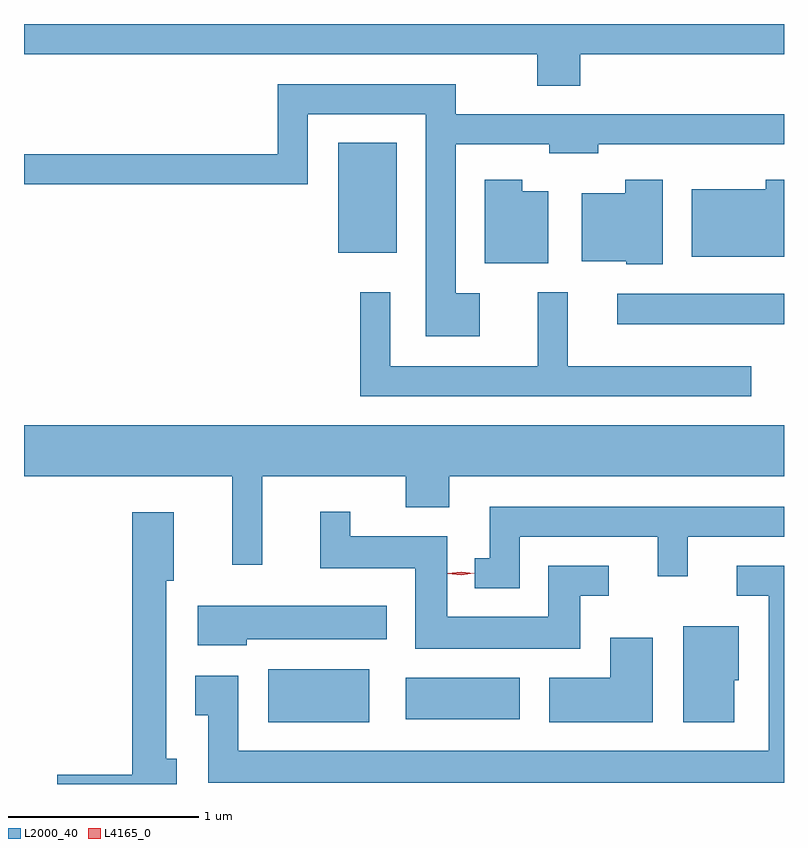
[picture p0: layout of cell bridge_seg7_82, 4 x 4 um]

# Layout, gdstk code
import gdstk
lib = gdstk.Library(unit=1e-6, precision=1e-09)
def R(c, l, rs):  # rectangles x0, y0, x1, y1
    for r in rs: c.add(gdstk.rectangle(r[:2], r[2:], *l))
def P(c, l, *ps):  # polygons
    for p in ps: c.add(gdstk.Polygon(p, *l))
L2000_40 = (2000, 40)
L4165_0 = (4165, 0)

bridge_seg7_82 = lib.new_cell('bridge_seg7_82')
R(bridge_seg7_82, L2000_40, [(1657.526,1779.621,1658.059,1779.899), (1658.251,1779.636,1658.849,1779.854), (1659.363,1781.716,1660.241,1781.874), (1657.896,1782.091,1658.204,1782.669)])
P(bridge_seg7_82, L2000_40, [(1659.169,1783.136),(1660.241,1783.136),(1660.241,1783.295),(1656.241,1783.295),(1656.241,1783.136),(1658.941,1783.136),(1658.941,1782.971),(1659.169,1782.971)],
  [(1658.639,1781.879),(1658.514,1781.879),(1658.514,1782.661),(1659.006,1782.661),(1659.006,1782.616),(1659.264,1782.616),(1659.264,1782.661),(1660.241,1782.661),(1660.241,1782.819),(1658.514,1782.819),(1658.514,1782.979),(1657.576,1782.979),(1657.576,1782.609),(1656.241,1782.609),(1656.241,1782.451),(1657.734,1782.451),(1657.734,1782.821),(1658.356,1782.821),(1658.356,1781.651),(1658.639,1781.651)],
  [(1658.999,1782.414),(1658.864,1782.414),(1658.864,1782.474),(1658.666,1782.474),(1658.666,1782.036),(1658.999,1782.036)],
  [(1659.604,1782.474),(1659.406,1782.474),(1659.406,1782.404),(1659.176,1782.404),(1659.176,1782.046),(1659.41,1782.046),(1659.41,1782.031),(1659.604,1782.031)],
  [(1660.241,1782.474),(1660.146,1782.474),(1660.146,1782.424),(1659.756,1782.424),(1659.756,1782.071),(1660.241,1782.071)],
  [(1660.068,1781.494),(1659.104,1781.494),(1659.104,1781.883),(1658.946,1781.883),(1658.946,1781.494),(1658.169,1781.494),(1658.169,1781.883),(1658.011,1781.883),(1658.011,1781.336),(1660.068,1781.336)],
  [(1657.494,1780.916),(1658.251,1780.916),(1658.251,1780.751),(1658.479,1780.751),(1658.479,1780.916),(1660.241,1780.916),(1660.241,1781.184),(1656.241,1781.184),(1656.241,1780.916),(1657.336,1780.916),(1657.336,1780.448),(1657.494,1780.448)],
  [(1658.849,1780.596),(1659.576,1780.596),(1659.576,1780.388),(1659.734,1780.388),(1659.734,1780.596),(1660.241,1780.596),(1660.241,1780.754),(1658.691,1780.754),(1658.691,1780.484),(1658.613,1780.484),(1658.613,1780.326),(1658.849,1780.326)],
  [(1659.169,1780.286),(1659.318,1780.286),(1659.318,1780.444),(1659.001,1780.444),(1659.001,1780.174),(1658.469,1780.174),(1658.469,1780.599),(1657.959,1780.599),(1657.959,1780.728),(1657.801,1780.728),(1657.801,1780.431),(1658.301,1780.431),(1658.301,1780.006),(1659.169,1780.006)],
  [(1657.044,1779.429),(1656.989,1779.429),(1656.989,1780.366),(1657.029,1780.366),(1657.029,1780.724),(1656.811,1780.724),(1656.811,1779.344),(1656.416,1779.344),(1656.416,1779.295),(1657.044,1779.295)],
  [(1660.241,1780.444),(1659.993,1780.444),(1659.993,1780.286),(1660.161,1780.286),(1660.161,1779.469),(1657.369,1779.469),(1657.369,1779.864),(1657.141,1779.864),(1657.141,1779.656),(1657.211,1779.656),(1657.211,1779.301),(1660.241,1779.301)],
  [(1657.414,1780.056),(1658.149,1780.056),(1658.149,1780.234),(1657.156,1780.234),(1657.156,1780.026),(1657.414,1780.026)],
  [(1659.979,1779.841),(1660.004,1779.841),(1660.004,1780.124),(1659.711,1780.124),(1659.711,1779.621),(1659.979,1779.621)],
  [(1659.549,1780.064),(1659.326,1780.064),(1659.326,1779.854),(1659.006,1779.854),(1659.006,1779.621),(1659.549,1779.621)])
P(bridge_seg7_82, L4165_0, [(1658.541,1780.393),(1658.472,1780.402),(1658.472,1780.403),(1658.472,1780.403),(1658.541,1780.413),(1658.611,1780.404),(1658.611,1780.404),(1658.611,1780.403)])

lib.write_gds('bridge_seg7_82.gds')
